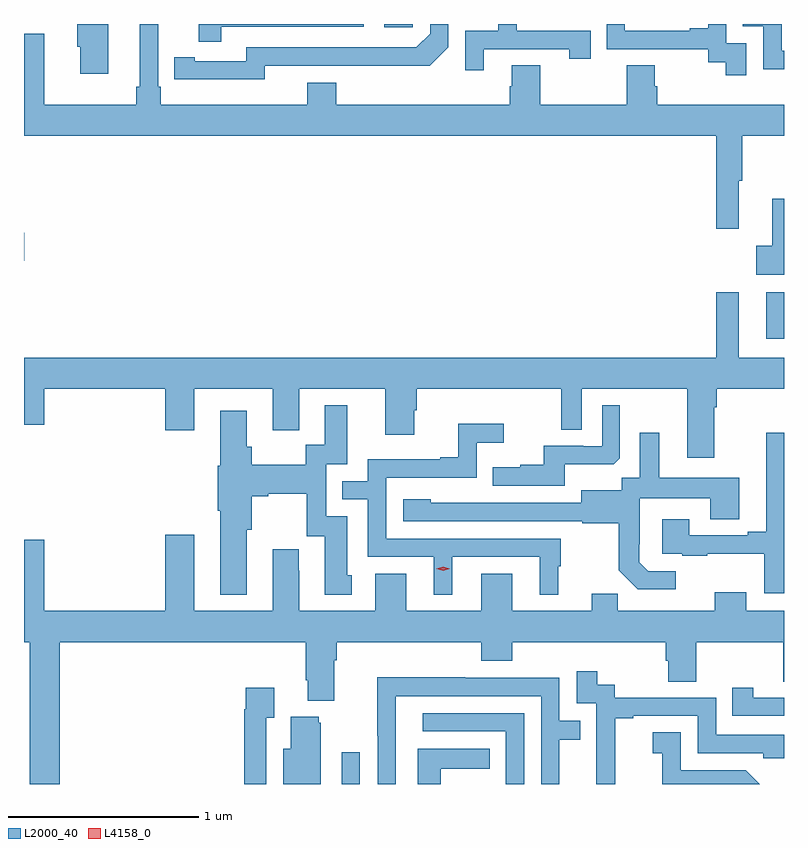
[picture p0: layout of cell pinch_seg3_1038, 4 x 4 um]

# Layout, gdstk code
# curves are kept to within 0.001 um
import gdstk
lib = gdstk.Library(unit=1e-6, precision=1e-09)
def R(c, l, rs):  # rectangles x0, y0, x1, y1
    for r in rs: c.add(gdstk.rectangle(r[:2], r[2:], *l))
def P(c, l, *ps):  # polygons
    for p in ps: c.add(gdstk.Polygon(p, *l))
L2000_40 = (2000, 40)
L4158_0 = (4158, 0)

pinch_seg3_1038 = lib.new_cell('pinch_seg3_1038')
R(pinch_seg3_1038, L2000_40, [(358.545,729.473,358.641,729.64), (360.779,731.816,360.873,732.061), (356.873,732.227,356.875,732.374), (358.77,733.455,358.92,733.473)])
P(pinch_seg3_1038, L2000_40, [(360.635,732.648),(360.653,732.648),(360.653,732.884),(360.873,732.884),(360.873,733.048),(360.206,733.048),(360.206,733.146),(360.193,733.146),(360.193,733.256),(360.046,733.256),(360.046,733.048),(359.589,733.048),(359.589,733.256),(359.441,733.256),(359.441,733.146),(359.429,733.146),(359.429,733.048),(358.517,733.048),(358.517,733.165),(358.364,733.165),(358.364,733.048),(357.593,733.048),(357.593,733.144),(357.579,733.144),(357.579,733.473),(357.482,733.473),(357.482,733.144),(357.463,733.144),(357.463,733.048),(356.98,733.048),(356.98,733.423),(356.873,733.423),(356.873,732.884),(360.517,732.884),(360.517,732.396),(360.635,732.396)],
  [(360.873,733.332),(360.861,733.332),(360.861,733.473),(360.655,733.473),(360.655,733.461),(360.765,733.461),(360.765,733.236),(360.873,733.236)],
  [(358.14,733.254),(359.008,733.253),(359.106,733.35),(359.106,733.473),(359.01,733.473),(359.01,733.422),(358.938,733.35),(358.044,733.35),(358.044,733.278),(357.772,733.278),(357.772,733.298),(357.664,733.298),(357.664,733.182),(358.14,733.181)],
  [(357.316,733.473),(357.152,733.473),(357.152,733.353),(357.17,733.353),(357.17,733.212),(357.316,733.212)],
  [(359.293,733.341),(359.744,733.341),(359.744,733.29),(359.855,733.29),(359.855,733.437),(359.466,733.437),(359.466,733.473),(359.37,733.473),(359.37,733.437),(359.196,733.437),(359.196,733.23),(359.293,733.23)],
  [(357.911,733.458),(358.66,733.458),(358.66,733.473),(357.794,733.473),(357.794,733.38),(357.911,733.38)],
  [(360.675,733.371),(360.57,733.371),(360.57,733.473),(360.473,733.473),(360.473,733.45),(360.377,733.45),(360.377,733.437),(360.036,733.437),(360.036,733.473),(359.94,733.473),(359.94,733.341),(360.474,733.341),(360.474,733.273),(360.567,733.273),(360.567,733.203),(360.675,733.203)],
  [(360.873,732.553),(360.812,732.553),(360.812,732.305),(360.726,732.305),(360.726,732.152),(360.873,732.152)],
  [(360.505,731.456),(360.518,731.456),(360.518,731.552),(360.873,731.552),(360.873,731.716),(360.634,731.716),(360.634,732.061),(360.517,732.061),(360.517,731.716),(356.873,731.716),(356.873,731.364),(356.98,731.364),(356.98,731.552),(357.617,731.552),(357.617,731.334),(357.769,731.334),(357.769,731.552),(358.181,731.552),(358.181,731.334),(358.321,731.334),(358.321,731.552),(358.775,731.552),(358.775,731.31),(358.927,731.31),(358.927,731.439),(358.94,731.439),(358.94,731.552),(359.7,731.552),(359.7,731.338),(359.808,731.338),(359.808,731.552),(360.365,731.552),(360.365,731.19),(360.505,731.19)],
  [(359.719,731.156),(359.977,731.156),(360.009,731.187),(360.009,731.467),(359.916,731.467),(359.916,731.25),(359.816,731.25),(359.816,731.253),(359.609,731.253),(359.609,731.152),(359.485,731.152),(359.485,731.14),(359.341,731.14),(359.341,731.043),(359.719,731.043)],
  [(358.045,730.811),(358.071,730.811),(358.071,730.988),(358.159,730.988),(358.159,731),(358.361,731),(358.361,730.776),(358.457,730.776),(358.457,730.47),(358.597,730.47),(358.597,730.572),(358.573,730.572),(358.573,730.881),(358.464,730.881),(358.464,731.157),(358.573,731.157),(358.573,731.467),(358.457,731.467),(358.457,731.258),(358.356,731.258),(358.356,731.152),(358.071,731.152),(358.071,731.247),(358.045,731.247),(358.045,731.437),(357.905,731.437),(357.905,731.148),(357.893,731.148),(357.893,730.911),(357.905,730.911),(357.905,730.469),(358.045,730.469)],
  [(359.128,730.668),(359.588,730.668),(359.588,730.469),(359.686,730.469),(359.686,730.62),(359.698,730.62),(359.698,730.764),(358.779,730.764),(358.779,731.085),(359.256,731.085),(359.256,731.27),(359.398,731.27),(359.398,731.369),(359.158,731.369),(359.158,731.194),(359.063,731.194),(359.063,731.181),(358.683,731.181),(358.683,731.067),(358.549,731.067),(358.549,730.971),(358.683,730.971),(358.683,730.668),(359.03,730.668),(359.03,730.469),(359.128,730.469)],
  [(360.304,730.593),(360.159,730.593),(360.112,730.64),(360.112,730.735),(360.114,730.735),(360.114,730.976),(360.485,730.976),(360.485,730.867),(360.637,730.867),(360.637,731.086),(360.217,731.086),(360.217,731.323),(360.113,731.323),(360.113,731.084),(360.018,731.084),(360.018,731.02),(359.807,731.02),(359.807,730.953),(359.013,730.954),(359.013,730.972),(358.869,730.972),(358.869,730.857),(359.811,730.857),(359.811,730.845),(360.003,730.845),(360.003,730.599),(360.103,730.499),(360.304,730.499)],
  [(360.873,731.323),(360.779,731.323),(360.779,730.801),(360.683,730.801),(360.683,730.782),(360.373,730.782),(360.373,730.867),(360.233,730.867),(360.233,730.686),(360.337,730.686),(360.337,730.674),(360.469,730.674),(360.469,730.685),(360.768,730.685),(360.768,730.476),(360.873,730.476)],
  [(359.999,730.475),(359.861,730.475),(359.861,730.384),(359.443,730.384),(359.443,730.579),(359.279,730.579),(359.279,730.384),(358.885,730.384),(358.885,730.579),(358.721,730.579),(358.721,730.384),(358.321,730.384),(358.321,730.595),(358.318,730.595),(358.318,730.708),(358.181,730.708),(358.181,730.384),(357.769,730.384),(357.769,730.786),(357.617,730.786),(357.617,730.384),(356.98,730.384),(356.98,730.759),(356.873,730.759),(356.873,730.22),(356.902,730.22),(356.902,729.473),(357.062,729.473),(357.062,730.22),(358.355,730.22),(358.355,730.018),(358.367,730.018),(358.367,729.911),(358.507,729.911),(358.507,730.124),(358.52,730.124),(358.52,730.22),(359.279,730.22),(359.279,730.121),(359.444,730.121),(359.444,730.22),(360.251,730.22),(360.251,730.122),(360.263,730.122),(360.263,730.012),(360.411,730.012),(360.411,730.22),(360.868,730.22),(360.868,730.012),(360.873,730.012),(360.873,730.384),(360.673,730.384),(360.673,730.483),(360.509,730.483),(360.509,730.384),(359.999,730.384)],
  [(359.985,729.535),(359.984,729.535),(359.984,729.819),(360.079,729.819),(360.079,729.831),(360.42,729.831),(360.42,729.636),(360.765,729.636),(360.765,729.609),(360.873,729.609),(360.873,729.732),(360.516,729.732),(360.516,729.927),(359.982,729.927),(359.982,729.996),(359.89,729.996),(359.89,730.066),(359.781,730.066),(359.781,729.897),(359.886,729.897),(359.886,729.668),(359.885,729.668),(359.885,729.473),(359.985,729.473)],
  [(358.83,729.936),(359.595,729.936),(359.595,729.473),(359.691,729.473),(359.691,729.706),(359.801,729.706),(359.801,729.807),(359.691,729.807),(359.691,730.032),(359.195,730.032),(359.195,730.034),(358.732,730.034),(358.732,729.727),(358.734,729.727),(358.734,729.473),(358.83,729.473)],
  [(360.873,729.927),(360.712,729.927),(360.712,729.979),(360.601,729.979),(360.601,729.831),(360.873,729.831)],
  [(358.149,729.823),(358.189,729.823),(358.189,729.979),(358.041,729.979),(358.041,729.866),(358.033,729.866),(358.033,729.473),(358.149,729.473)],
  [(359.505,729.846),(358.971,729.846),(358.971,729.75),(359.409,729.75),(359.409,729.473),(359.505,729.473)],
  [(358.435,729.795),(358.424,729.795),(358.424,729.826),(358.277,729.826),(358.277,729.658),(358.238,729.658),(358.238,729.473),(358.435,729.473)],
  [(360.672,729.546),(360.33,729.546),(360.33,729.745),(360.183,729.745),(360.183,729.635),(360.232,729.635),(360.232,729.473),(360.745,729.473)],
  [(359.067,729.554),(359.324,729.554),(359.324,729.658),(358.946,729.658),(358.946,729.473),(359.067,729.473)])
P(pinch_seg3_1038, L4158_0, [(359.079,730.596),(359.043,730.606),(359.043,730.606),(359.043,730.606),(359.079,730.616),(359.115,730.606),(359.115,730.606),(359.115,730.606)])

lib.write_gds('pinch_seg3_1038.gds')
